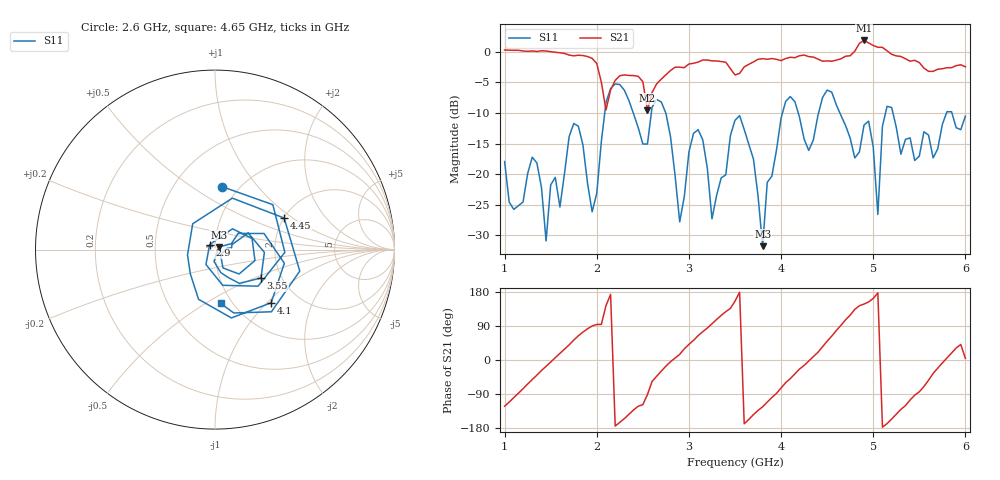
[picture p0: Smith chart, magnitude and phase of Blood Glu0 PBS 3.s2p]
! NanoVNA-App
! Date: 2024-03-20 19:41:49
! Start: 1GHz Stop: 6GHz Points: 101
! S-Parameter data: F S11 S21 S12 S22
# Hz S RI R 50
!  Frequency  S11_Real  S11_Imag  S21_Real  S21_Imag  S12_Real  S12_Imag  S22_Real  S22_Imag
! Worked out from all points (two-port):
!   101 points, 1 GHz to 6 GHz, reference 50 ohm
!   highest |S21| = 1.88 dB at 4.9 GHz (marker M1); lowest = -9.5 dB at 2.55 GHz (marker M2)
!   |S21| within 3 dB of the highest: start of sweep to 1.953 GHz; 4.65 GHz to 5.349 GHz (699 MHz wide, 14 % of centre) (the widest 2 of 5)
!   lowest |S11| = -31.8 dB at 3.8 GHz (marker M3), VSWR 1.05, Z = 52.2 + j1.47 ohm
!   |S11| at or under -10 dB: start of sweep to 2.086 GHz; 2.749 GHz to 4.015 GHz (1.266 GHz wide, 37.4 % of centre); 5.214 GHz to 5.795 GHz (580.9 MHz wide, 10.6 % of centre) (the widest 3 of 7)
!   S12 and S22 are empty: the file has one direction only
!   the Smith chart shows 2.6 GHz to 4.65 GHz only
!   S11 on the Smith chart (normalised r, x): 2.6 GHz: 0.84, +0.67; 2.9 GHz: 0.94, +0.05; 3.55 GHz: 1.57, -0.55; 4.1 GHz: 1.45, -1.06; 4.45 GHz: 2.01, +0.86; 4.65 GHz: 0.89, -0.59
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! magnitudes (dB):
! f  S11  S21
! 1 GHz  -18.0  0.3
! 1.45 GHz  -31.0  0.2
! 1.85 GHz  -15.2  -0.6
! 1.95 GHz  -26.2  -1.1
! 2.15 GHz  -6.0  -6.2
! 2.55 GHz  -15.1  -9.5
! 2.6 GHz  -9.1  -6.6
! 2.7 GHz  -8.2  -4.5
! 2.9 GHz  -27.8  -2.5
! 3.05 GHz  -13.3  -1.9
! 3.25 GHz  -27.3  -1.5
! 3.5 GHz  -11.2  -3.8
! 3.55 GHz  -10.4  -3.5
! 3.8 GHz  -31.8  -1.1
! 4.1 GHz  -7.3  -0.9
! 4.35 GHz  -14.4  -0.8
! 4.45 GHz  -7.5  -1.5
! 4.65 GHz  -10.4  -1.1
! 4.9 GHz  -12.0  1.9
! 5.05 GHz  -26.6  0.8
! 5.2 GHz  -9.1  -0.4
! 6 GHz  -10.5  -2.4
